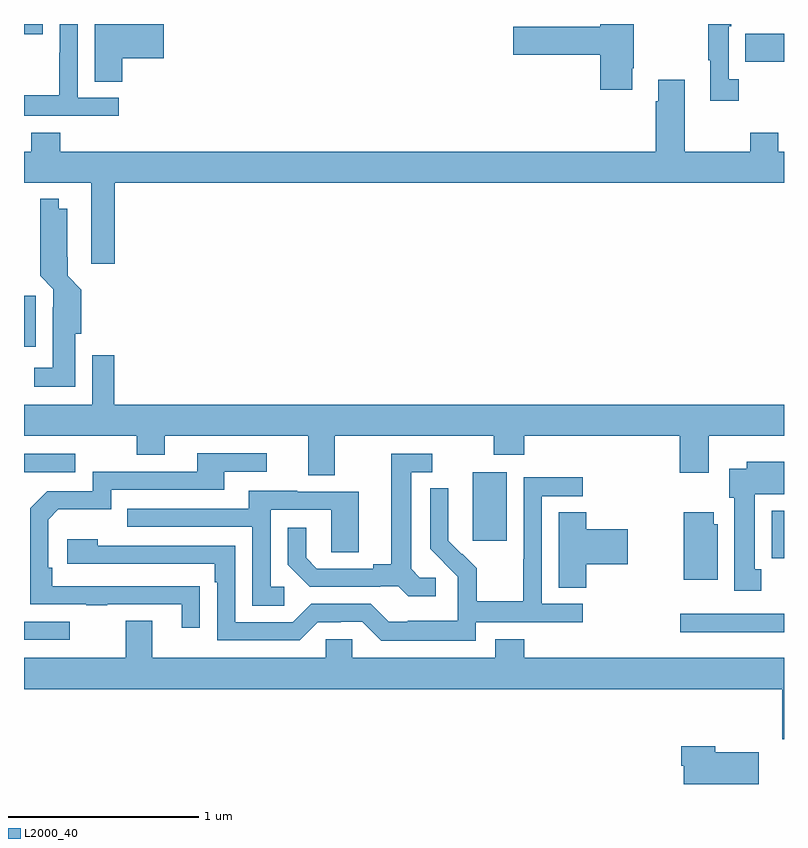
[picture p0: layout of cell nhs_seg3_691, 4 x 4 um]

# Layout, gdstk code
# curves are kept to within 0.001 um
import gdstk
lib = gdstk.Library(unit=1e-6, precision=1e-09)
def R(c, l, rs):  # rectangles x0, y0, x1, y1
    for r in rs: c.add(gdstk.rectangle(r[:2], r[2:], *l))
def P(c, l, *ps):  # polygons
    for p in ps: c.add(gdstk.Polygon(p, *l))
L2000_40 = (2000, 40)

nhs_seg3_691 = lib.new_cell('nhs_seg3_691')
R(nhs_seg3_691, L2000_40, [(145,717.159,145.24,717.255), (148.455,717.2,149,717.297), (148.935,717.588,149,717.838), (147.362,717.681,147.541,718.042), (145,718.041,145.27,718.137), (145,718.701,145.063,718.969), (148.795,720.202,149,720.349), (145,720.345,145.099,720.4)])
P(nhs_seg3_691, L2000_40, [(145.498,720.012),(145.284,720.012),(145.284,720.4),(145.188,720.4),(145.188,720.248),(145.186,720.248),(145.186,720.025),(145,720.025),(145,719.916),(145.498,719.916)],
  [(148.762,720.11),(148.71,720.11),(148.71,720.389),(148.723,720.389),(148.723,720.4),(148.602,720.4),(148.602,720.209),(148.613,720.209),(148.613,719.997),(148.762,719.997)],
  [(145.517,720.221),(145.735,720.221),(145.735,720.4),(145.373,720.4),(145.373,720.097),(145.517,720.097)],
  [(148.201,720.166),(148.209,720.166),(148.209,720.4),(148.034,720.4),(148.034,720.386),(147.576,720.386),(147.576,720.239),(148.034,720.239),(148.034,720.054),(148.201,720.054)],
  [(145.478,719.564),(149,719.564),(149,719.728),(148.969,719.728),(148.969,719.827),(148.822,719.827),(148.822,719.728),(148.477,719.728),(148.477,720.106),(148.337,720.106),(148.337,719.993),(148.325,719.993),(148.325,719.728),(145.19,719.728),(145.19,719.827),(145.037,719.827),(145.037,719.728),(145,719.728),(145,719.564),(145.355,719.564),(145.355,719.139),(145.478,719.139)],
  [(145.27,718.77),(145.301,718.77),(145.301,719.002),(145.229,719.074),(145.228,719.428),(145.183,719.428),(145.183,719.479),(145.086,719.479),(145.085,719.074),(145.155,719.004),(145.155,718.91),(145.151,718.91),(145.151,718.591),(145.053,718.591),(145.053,718.49),(145.27,718.49)],
  [(146.635,718.232),(147.472,718.232),(147.472,718.133),(147.632,718.133),(147.632,718.232),(148.451,718.232),(148.451,718.038),(148.603,718.038),(148.603,718.232),(149,718.232),(149,718.396),(145.475,718.396),(145.475,718.657),(145.359,718.657),(145.359,718.396),(145,718.396),(145,718.232),(145.594,718.232),(145.594,718.133),(145.741,718.133),(145.741,718.232),(146.495,718.232),(146.495,718.024),(146.635,718.024)],
  [(145.925,717.44),(145.148,717.441),(145.148,717.538),(145.128,717.538),(145.128,717.792),(145.181,717.845),(145.458,717.845),(145.458,717.948),(146.053,717.948),(146.053,718.044),(146.278,718.044),(146.278,718.14),(145.913,718.14),(145.913,718.044),(145.362,718.044),(145.362,717.942),(145.122,717.942),(145.032,717.852),(145.032,717.345),(145.327,717.345),(145.327,717.34),(145.439,717.34),(145.439,717.345),(145.829,717.345),(145.829,717.222),(145.925,717.222)],
  [(147.166,717.486),(147.084,717.486),(147.037,717.533),(147.037,718.041),(147.148,718.041),(147.148,718.137),(146.933,718.137),(146.933,717.557),(146.837,717.557),(146.837,717.534),(146.542,717.534),(146.485,717.591),(146.485,717.748),(146.388,717.748),(146.388,717.554),(146.504,717.438),(146.876,717.438),(146.876,717.441),(146.97,717.441),(147.022,717.389),(147.166,717.389)],
  [(148.879,717.529),(148.846,717.529),(148.846,717.926),(149,717.926),(149,718.096),(148.805,718.096),(148.805,718.06),(148.712,718.06),(148.712,717.906),(148.739,717.906),(148.739,717.417),(148.879,717.417)],
  [(147.378,717.252),(147.94,717.252),(147.94,717.348),(147.726,717.348),(147.726,717.915),(147.94,717.915),(147.94,718.014),(147.63,718.014),(147.63,717.584),(147.628,717.584),(147.628,717.361),(147.383,717.361),(147.383,717.535),(147.306,717.612),(147.303,717.609),(147.233,717.68),(147.234,717.956),(147.138,717.956),(147.138,717.638),(147.284,717.49),(147.284,717.393),(147.282,717.393),(147.282,717.259),(147.019,717.259),(147.019,717.255),(146.919,717.255),(146.826,717.348),(146.511,717.348),(146.415,717.252),(146.112,717.252),(146.112,717.654),(145.388,717.654),(145.388,717.688),(145.227,717.688),(145.227,717.558),(146.003,717.558),(146.003,717.461),(146.016,717.461),(146.016,717.156),(146.451,717.156),(146.547,717.252),(146.666,717.252),(146.666,717.255),(146.781,717.255),(146.881,717.155),(147.378,717.155)],
  [(146.371,717.438),(146.298,717.438),(146.298,717.843),(146.616,717.843),(146.616,717.619),(146.761,717.619),(146.761,717.939),(146.437,717.939),(146.437,717.943),(146.183,717.943),(146.183,717.849),(145.543,717.849),(145.543,717.753),(146.202,717.753),(146.202,717.337),(146.371,717.337)],
  [(147.959,717.557),(148.177,717.557),(148.177,717.74),(147.959,717.74),(147.959,717.83),(147.815,717.83),(147.815,717.433),(147.959,717.433)],
  [(148.651,717.768),(148.63,717.768),(148.63,717.829),(148.472,717.829),(148.472,717.476),(148.651,717.476)],
  [(149,717.064),(147.632,717.064),(147.632,717.163),(147.479,717.163),(147.479,717.064),(146.727,717.064),(146.727,717.162),(146.589,717.162),(146.589,717.064),(145.675,717.064),(145.675,717.259),(145.535,717.259),(145.535,717.064),(145,717.064),(145,716.9),(148.991,716.9),(148.991,716.635),(149,716.635)],
  [(148.867,716.566),(148.638,716.566),(148.638,716.599),(148.46,716.599),(148.46,716.495),(148.472,716.495),(148.472,716.4),(148.867,716.4)])

lib.write_gds('nhs_seg3_691.gds')
